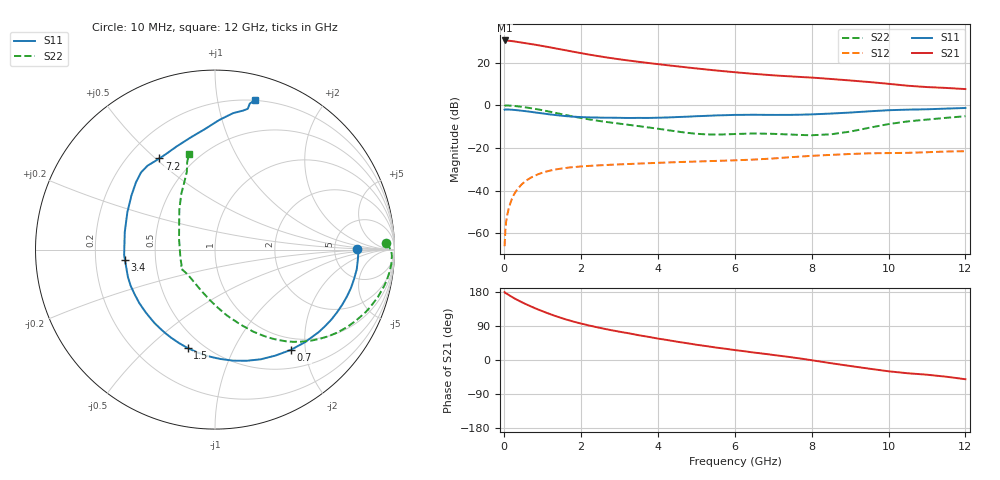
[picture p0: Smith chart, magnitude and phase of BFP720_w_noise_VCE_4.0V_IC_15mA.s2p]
! Infineon Technologies  Discrete & RF Semiconductors
! BFP720
! VCE =  4.0 V,  IC =  15 mA
! Common Emitter S-Parameters:  Aug 2012
# GHz  S  MA  R  50
!  f  S11  S21  S12  S22
! GHz  MAG  ANG  MAG  ANG  MAG  ANG  MAG  ANG
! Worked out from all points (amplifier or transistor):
!   105 points, 10 MHz to 12 GHz, reference 50 ohm
!   highest |S21| = 30.4 dB at 10 MHz (marker M1)
!   |S21| within 3 dB of that: start of sweep to 1.121 GHz
!   unconditionally stable (mu >= 1): start of sweep to 14.48 MHz; 4.813 GHz to 11 GHz
!   at 300 MHz: K = 0.16, MSG = 35.1 dB, |S12| = -40.4 dB
!   at 3.6 GHz: K = 0.82, MSG = 23.7 dB, |S12| = -27.3 dB
!   at 12 GHz: K = 0.76, MSG = 14.6 dB, |S12| = -21.5 dB
!   lowest NFmin = 0.63 dB at 450 MHz
!   S11 on the Smith chart (normalised r, x): 10 MHz: 8.56, +0.25; 700 MHz: 0.79, -1.73; 1.5 GHz: 0.42, -0.67; 3.4 GHz: 0.33, -0.05; 7.2 GHz: 0.33, +0.51; 12 GHz: 0.19, +1.28
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0.01  0.791 0.4  33.03 179.1  0.0005 -45.0  0.9562 2.2
0.02  0.799 -1.3  32.94 177.3  0.0008 62.4  0.9827 -0.4
0.05  0.7979 -3.7  33 175.8  0.0019 75.3  0.9862 -2.0
0.15  0.792 -11.9  32.33 169.6  0.0048 79.3  0.981 -7.1
0.3  0.7724 -23.5  30.95 160.7  0.0095 75.5  0.9553 -13.9
0.5  0.7382 -38.5  29 150.4  0.0152 69.0  0.9091 -22.5
0.7  0.7002 -53.0  27.17 141.2  0.0203 62.5  0.854 -30.3
0.9  0.6624 -67.3  25.37 132.6  0.0246 56.6  0.795 -37.4
1.1  0.6267 -80.8  23.57 124.6  0.0281 51.2  0.7334 -43.9
1.3  0.5954 -93.7  21.84 117.2  0.0309 46.6  0.674 -49.7
1.5  0.5693 -105.4  20.19 110.5  0.0331 42.7  0.618 -54.7
1.8  0.5412 -121.0  17.96 101.4  0.0356 37.8  0.5446 -61.2
2.1  0.5242 -133.7  16.04 93.8  0.0374 34.3  0.4862 -66.6
2.6  0.5124 -150.9  13.5 82.4  0.0397 29.9  0.4133 -74.2
3.4  0.5051 -173.7  10.71 67.4  0.0427 25.7  0.3336 -85.5
4.1  0.5139 166.6  8.989 55.0  0.0452 23.0  0.2737 -98.0
5  0.5547 147.1  7.302 40.2  0.0481 20.2  0.2152 -123.0
6.1  0.596 132.8  5.845 25.0  0.0517 18.4  0.2133 -148.1
7.2  0.5953 121.5  4.906 10.8  0.0585 17.6  0.2106 -153.5
8.5  0.6395 102.2  4.137 -8.4  0.0688 10.9  0.2088 163.6
10.5  0.7907 78.5  2.871 -35.0  0.0769 -1.9  0.4188 113.8
12  0.8645 75.0  2.397 -50.7  0.084 -10.7  0.5538 105.2
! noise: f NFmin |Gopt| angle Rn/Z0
0.45  0.63  0.22  1  0.43
1.8  0.7  0.22  14  0.13
2.4  0.75  0.2  22  0.38
5.5  0.93  0.1  -30  0.18
10  1.11  0.44  -74  0.27
